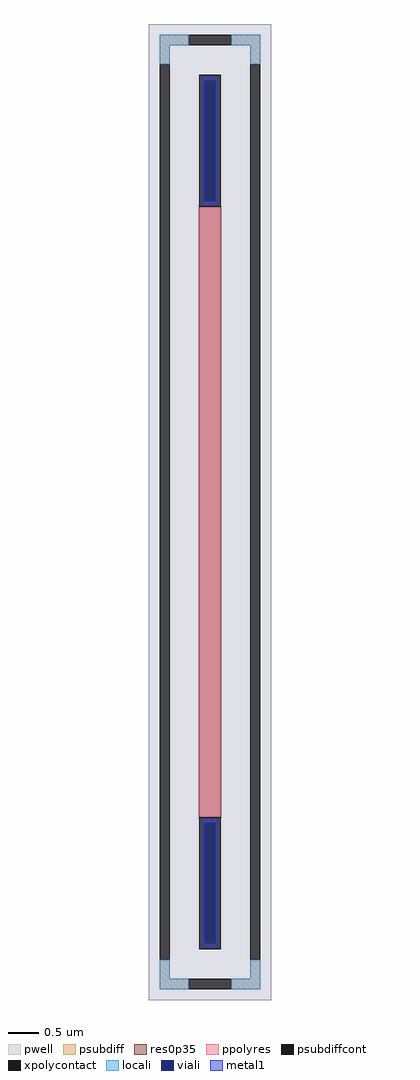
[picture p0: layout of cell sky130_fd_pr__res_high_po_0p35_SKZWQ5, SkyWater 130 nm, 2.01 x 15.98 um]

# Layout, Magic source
magic
tech sky130A
magscale 1 2
<< pwell >>
rect -201 -1598 201 1598
<< psubdiff >>
rect -165 1528 -69 1562
rect 69 1528 165 1562
rect -165 1466 -131 1528
rect 131 1466 165 1528
rect -165 -1528 -131 -1466
rect 131 -1528 165 -1466
rect -165 -1562 -69 -1528
rect 69 -1562 165 -1528
<< psubdiffcont >>
rect -69 1528 69 1562
rect -165 -1466 -131 1466
rect 131 -1466 165 1466
rect -69 -1562 69 -1528
<< xpolycontact >>
rect -35 1000 35 1432
rect -35 -1432 35 -1000
<< ppolyres >>
rect -35 -1000 35 1000
<< locali >>
rect -165 1528 -69 1562
rect 69 1528 165 1562
rect -165 1466 -131 1528
rect 131 1466 165 1528
rect -165 -1528 -131 -1466
rect 131 -1528 165 -1466
rect -165 -1562 -69 -1528
rect 69 -1562 165 -1528
<< viali >>
rect -19 1017 19 1414
rect -19 -1414 19 -1017
<< metal1 >>
rect -25 1414 25 1426
rect -25 1017 -19 1414
rect 19 1017 25 1414
rect -25 1005 25 1017
rect -25 -1017 25 -1005
rect -25 -1414 -19 -1017
rect 19 -1414 25 -1017
rect -25 -1426 25 -1414
<< res0p35 >>
rect -37 -1002 37 1002
<< properties >>
string FIXED_BBOX -148 -1545 148 1545
string gencell sky130_fd_pr__res_high_po_0p35
string library sky130
string parameters w 0.350 l 10 m 1 nx 1 wmin 0.350 lmin 0.50 rho 319.8 val 10.25k dummy 0 dw 0.0 term 194.82 sterm 0.0 caplen 0 guard 1 glc 1 grc 1 gtc 1 gbc 1 compatible {sky130_fd_pr__res_high_po_0p35  sky130_fd_pr__res_high_po_0p69 sky130_fd_pr__res_high_po_1p41  sky130_fd_pr__res_high_po_2p85 sky130_fd_pr__res_high_po_5p73} snake 0 full_metal 1 wmax 0.350 vias 1 n_guard 0 hv_guard 0 viagb 0 viagt 0 viagl 0 viagr 0
<< end >>
